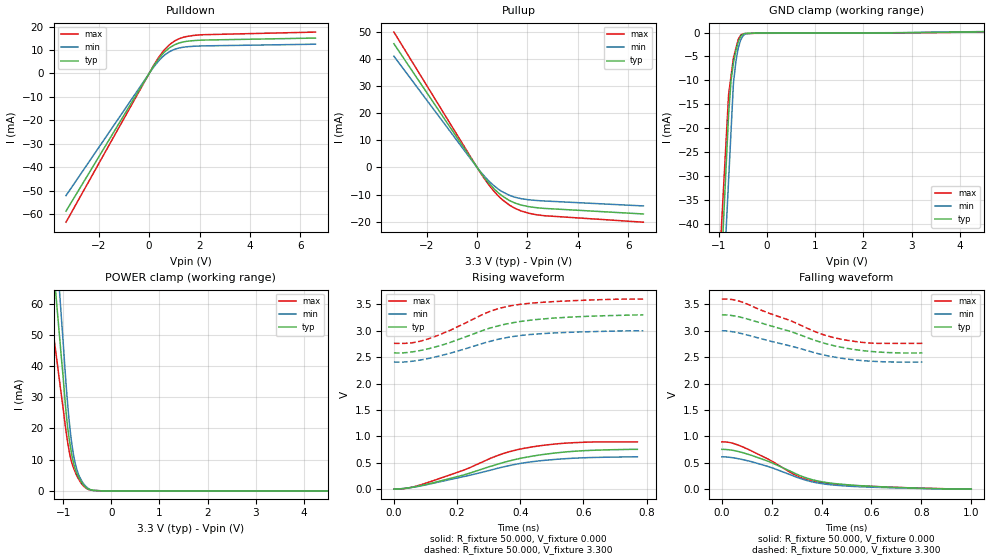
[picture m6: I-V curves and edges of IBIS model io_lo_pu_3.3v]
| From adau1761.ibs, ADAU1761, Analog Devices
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[Model]   io_lo_pu_3.3v
Model_type I/O
Vinl = 9.900E-01
Vinh = 2.310E+00
Vref=0.000E+00
Rref=1.000E+06
Cref=0.000E+00
Vmeas=1.650E+00
C_comp   5.9300E-13   5.6335E-13   6.2265E-13
[Voltage Range]   3.300E+00   3.000E+00   3.600E+00
[POWER Clamp Reference]   3.300E+00   3.000E+00   3.600E+00
[GND Clamp Reference]   0.000E+00   0.000E+00   0.000E+00
[Pullup Reference]   3.300E+00   3.000E+00   3.600E+00
[Pulldown Reference]   0.000E+00   0.000E+00   0.000E+00
[Temperature Range]   25   85   -40
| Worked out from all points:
|   slope of the pulldown table from 0 to 0.495 V, typ, clamps not added: 63.7 ohm
|   slope of the pullup table from 0 to 0.495 V, typ, clamps not added: 81.6 ohm
|   GND clamp passes 1 mA (typ) near -0.56 V on its own axis
|   POWER clamp passes 1 mA (typ) near -0.52 V on its own axis
|   rising waveform, R_fixture 50.000, V_fixture 0.000: 20-80 % time 273ps typ, 271ps min, 237ps max; typ from 0.003 V to 0.756 V
|   falling waveform, R_fixture 50.000, V_fixture 0.000: 20-80 % time 247ps typ, 237ps min, 219ps max; typ from 0.756 V to 0.003 V
|   rising waveform, R_fixture 50.000, V_fixture 3.300: 20-80 % time 231ps typ, 221ps min, 194ps max; typ from 2.58 V to 3.3 V
|   falling waveform, R_fixture 50.000, V_fixture 3.300: 20-80 % time 293ps typ, 291ps min, 269ps max; typ from 3.3 V to 2.58 V
[GND Clamp]
-3.3V     -545.5mA   -535.8mA   -476.2mA
-800mV    -17.05mA   -30.81mA   -12.98mA
-750mV    -10.11mA   -20.71mA   -9.145mA
-700mV    -6.324mA   -10.61mA   -5.31mA
-650mV    -3.853mA   -6.144mA   -3.374mA
-600mV    -1.955mA   -3.227mA   -1.438mA
-550mV    -822.6uA   -1.554mA   -561.6uA
-500mV    -321.3uA   -658.8uA   -246uA
-450mV    -166uA     -263.6uA   -227.9uA
-225mV    -129uA     -101.7uA   -155.3uA
2.6V      -60.74uA   -35.15uA   -105.2uA
6.6V      423.2uA    480.9uA    357.9uA
[Power Clamp]
-3.3V     443.5mA    548.1mA    299.7mA
-1.02V    39.68mA    51.86mA    28.67mA
-940mV    25.34mA    34.31mA    19.07mA
-900mV    19.54mA    26.61mA    14.95mA
-860mV    15.19mA    20.17mA    11.55mA
-800mV    9.99mA     12.98mA    8.022mA
-740mV    6.616mA    8.253mA    5.696mA
-680mV    4.455mA    5.271mA    3.84mA
-600mV    2.381mA    2.839mA    1.973mA
-480mV    607.9uA    809.1uA    495uA
-160mV    0A         0A         225.3nA
6.6V      0A         0A         0A
[Pullup]
-3.3V     45.55mA    40.95mA    49.85mA
100mV     -1.325mA   -1.174mA   -1.493mA
360mV     -4.593mA   -3.962mA   -5.041mA
700mV     -8.128mA   -6.966mA   -9.099mA
1V        -10.52mA   -8.966mA   -11.89mA
1.26V     -12.08mA   -10.19mA   -13.74mA
1.76V     -13.89mA   -11.54mA   -16.08mA
2.44V     -14.93mA   -12.25mA   -17.55mA
6.6V      -17.16mA   -14.2mA    -20.19mA
[Pulldown]
-3.3V     -58.73mA   -52.1mA    -63.43mA
160mV     2.831mA    2.452mA    3.107mA
540mV     8.349mA    7.157mA    9.268mA
880mV     11.46mA    9.706mA    12.91mA
1.04V     12.39mA    10.43mA    14.05mA
1.32V     13.38mA    11.15mA    15.33mA
1.98V     14.18mA    11.72mA    16.44mA
6.6V      15.12mA    12.5mA     17.67mA
[Rising Waveform]
R_fixture = 50.000
V_fixture = 0.000
V_fixture_min = 0.000
V_fixture_max = 0.000
|  time   V(typ)   V(min)   V(max)
0s        3.244mV    2.698mV    3.801mV
38ps      20.99mV    20.16mV    17.76mV
86ps      71.6mV     65.61mV    86.86mV
222ps     273.4mV    242.3mV    364.3mV
329ps     476.4mV    399.1mV    640.8mV
363ps     533.2mV    444.8mV    707.2mV
415ps     602.1mV    503.3mV    778.5mV
477ps     661.6mV    548.2mV    835.5mV
555ps     712.7mV    583.7mV    877.8mV
771ps     755.7mV    614.6mV    898mV
[Falling Waveform]
R_fixture = 50.000
V_fixture = 0.000
V_fixture_min = 0.000
V_fixture_max = 0.000
|  time   V(typ)   V(min)   V(max)
0s        755.7mV    614.6mV    898mV
53ps      729.7mV    591.2mV    857.9mV
121ps     639.7mV    520.2mV    721.2mV
198ps     508.2mV    410.9mV    539mV
291ps     306.3mV    246mV      276.9mV
331ps     227.9mV    180.6mV    197.3mV
376ps     166.7mV    126.8mV    143.8mV
450ps     109.4mV    80.06mV    99.03mV
551ps     69.49mV    48.67mV    65.46mV
1ns       3.244mV    2.698mV    3.801mV
[Rising Waveform]
R_fixture = 50.000
V_fixture = 3.300
V_fixture_min = 3.000
V_fixture_max = 3.600
|  time   V(typ)   V(min)   V(max)
0s        2.58V      2.408V     2.762V
57ps      2.6V       2.423V     2.772V
106ps     2.655V     2.472V     2.842V
181ps     2.785V     2.581V     3.017V
300ps     3.043V     2.793V     3.357V
373ps     3.148V     2.888V     3.476V
441ps     3.207V     2.933V     3.526V
510ps     3.242V     2.959V     3.553V
684ps     3.288V     2.992V     3.594V
790ps     3.3V       3V         3.6V
[Falling Waveform]
R_fixture = 50.000
V_fixture = 3.300
V_fixture_min = 3.000
V_fixture_max = 3.600
|  time   V(typ)   V(min)   V(max)
0s        3.3V       3V         3.6V
45ps      3.285V     2.98V      3.588V
81ps      3.25V      2.945V     3.543V
192ps     3.099V     2.807V     3.327V
263ps     3.004V     2.726V     3.213V
387ps     2.798V     2.566V     2.959V
449ps     2.718V     2.505V     2.87V
521ps     2.653V     2.455V     2.806V
594ps     2.61V      2.425V     2.768V
804ps     2.58V      2.408V     2.762V
[Ramp]
dV/dt_r   4.5176E-01/2.7316E-10   3.6635E-01/2.7106E-10   5.3533E-01/2.3662E-10
dV/dt_f   4.3177E-01/2.9322E-10   3.5536E-01/2.9091E-10   5.0307E-01/2.6858E-10
R_load = 50
